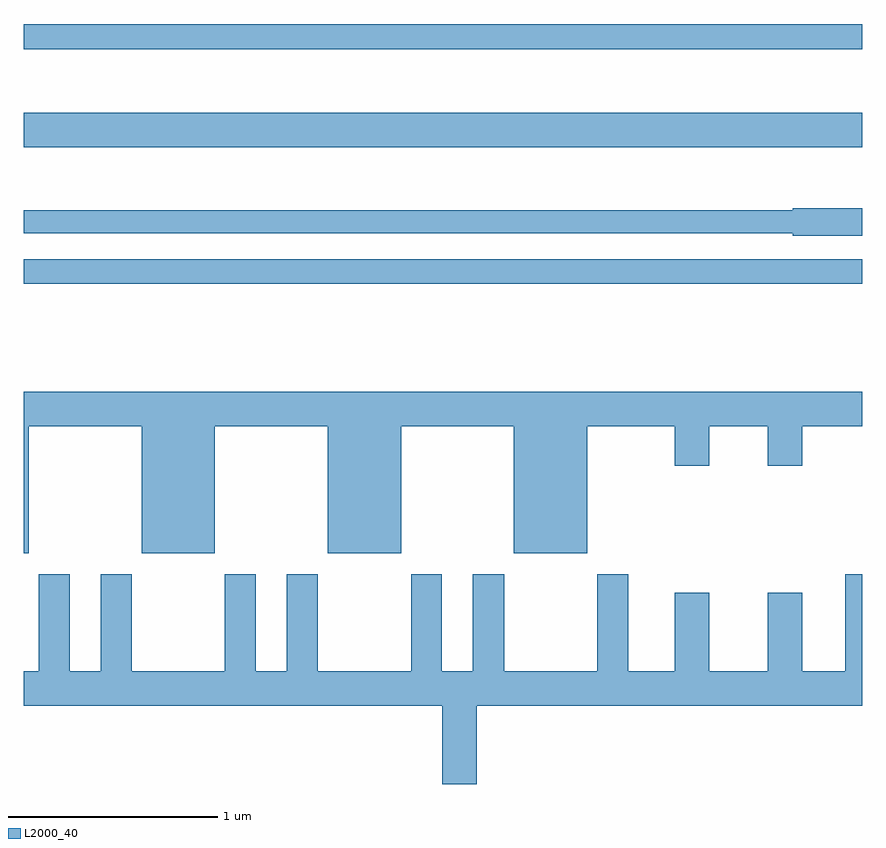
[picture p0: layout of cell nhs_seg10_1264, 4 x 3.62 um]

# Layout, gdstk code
import gdstk
lib = gdstk.Library(unit=1e-6, precision=1e-09)
def R(c, l, rs):  # rectangles x0, y0, x1, y1
    for r in rs: c.add(gdstk.rectangle(r[:2], r[2:], *l))
def P(c, l, *ps):  # polygons
    for p in ps: c.add(gdstk.Polygon(p, *l))
L2000_40 = (2000, 40)

nhs_seg10_1264 = lib.new_cell('nhs_seg10_1264')
R(nhs_seg10_1264, L2000_40, [(175,1328.968,179,1329.084), (175,1329.62,179,1329.784), (175,1330.086,179,1330.207)])
P(nhs_seg10_1264, L2000_40, [(179,1329.327),(178.668,1329.327),(178.668,1329.319),(175,1329.319),(175,1329.21),(178.668,1329.21),(178.668,1329.197),(179,1329.197)],
  [(175.024,1328.288),(175.562,1328.288),(175.562,1327.682),(175.912,1327.682),(175.912,1328.288),(176.45,1328.288),(176.45,1327.682),(176.8,1327.682),(176.8,1328.288),(177.338,1328.288),(177.338,1327.682),(177.688,1327.682),(177.688,1328.288),(178.106,1328.288),(178.106,1328.1),(178.27,1328.1),(178.27,1328.288),(178.55,1328.288),(178.55,1328.1),(178.714,1328.1),(178.714,1328.288),(179,1328.288),(179,1328.452),(175,1328.452),(175,1327.682),(175.024,1327.682)],
  [(177.16,1326.956),(179,1326.956),(179,1327.582),(178.919,1327.582),(178.919,1327.12),(178.714,1327.12),(178.714,1327.495),(178.55,1327.495),(178.55,1327.12),(178.27,1327.12),(178.27,1327.495),(178.106,1327.495),(178.106,1327.12),(177.883,1327.12),(177.883,1327.582),(177.736,1327.582),(177.736,1327.12),(177.291,1327.12),(177.291,1327.582),(177.143,1327.582),(177.143,1327.12),(176.995,1327.12),(176.995,1327.582),(176.848,1327.582),(176.848,1327.12),(176.403,1327.12),(176.403,1327.582),(176.255,1327.582),(176.255,1327.12),(176.107,1327.12),(176.107,1327.582),(175.96,1327.582),(175.96,1327.12),(175.515,1327.12),(175.515,1327.582),(175.367,1327.582),(175.367,1327.12),(175.219,1327.12),(175.219,1327.582),(175.072,1327.582),(175.072,1327.12),(175,1327.12),(175,1326.956),(176.996,1326.956),(176.996,1326.582),(177.16,1326.582)])

lib.write_gds('nhs_seg10_1264.gds')
